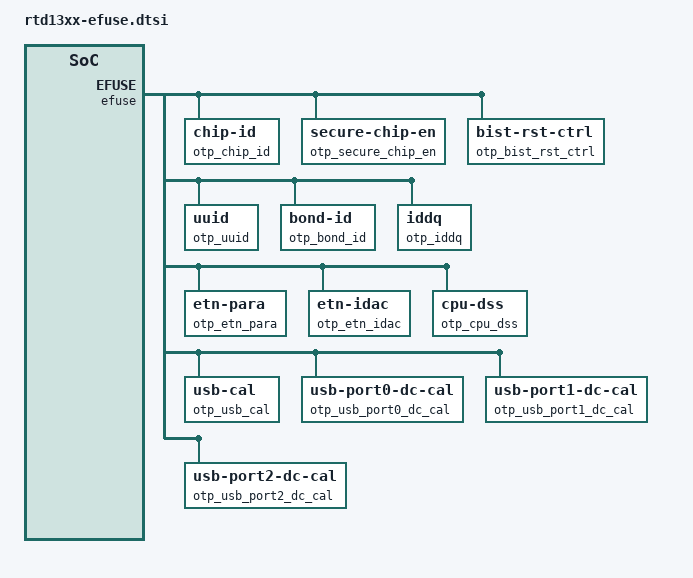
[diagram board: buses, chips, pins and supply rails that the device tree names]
// SPDX-License-Identifier: GPL-2.0
/* Copyright (C) 2019-2020 Realtek Semiconductor Corporation
 */
&efuse {
	otp_chip_id: chip-id@3cc {
		reg = <0x3cc 0x10>;
	};
	otp_secure_chip_en: secure-chip-en@3fd {
		reg = <0x3fd 0x1>;
		bits = <2 3>;
	};
	otp_bist_rst_ctrl: bist-rst-ctrl@406 {
		reg = <0x406 0x1>;
		bits = <5 2>;
	};
	otp_uuid: uuid@478 {
		reg = <0x478 0xc>;
	};
	otp_bond_id: bond-id@4f4 {
		reg = <0x4f4 0x4>;
	};
	otp_iddq: iddq@4f8 {
		reg = <0x4f8 0x2>;
	};
	otp_etn_para: etn-para@4fc {
		reg = <0x4fc 0x1>;
		bits = <0 5>;
	};
	otp_etn_idac: etn-idac@500 {
		reg = <0x500 0x1>;
	};
	otp_cpu_dss: cpu-dss@514 {
		reg = <0x514 0x13>;
		bits = <0 148>;
	};
	otp_usb_cal: usb-cal@528 {
		reg = <0x528 0xa>;
		bits = <0 77>;
	};
	otp_usb_port0_dc_cal: usb-port0-dc-cal@534 {
		reg = <0x534 0x1>;
		bits = <0 4>;
	};
	otp_usb_port1_dc_cal: usb-port1-dc-cal@534 {
		reg = <0x534 0x1>;
		bits = <4 4>;
	};
	otp_usb_port2_dc_cal: usb-port2-dc-cal@535 {
		reg = <0x535 0x1>;
		bits = <0 4>;
	};
};
